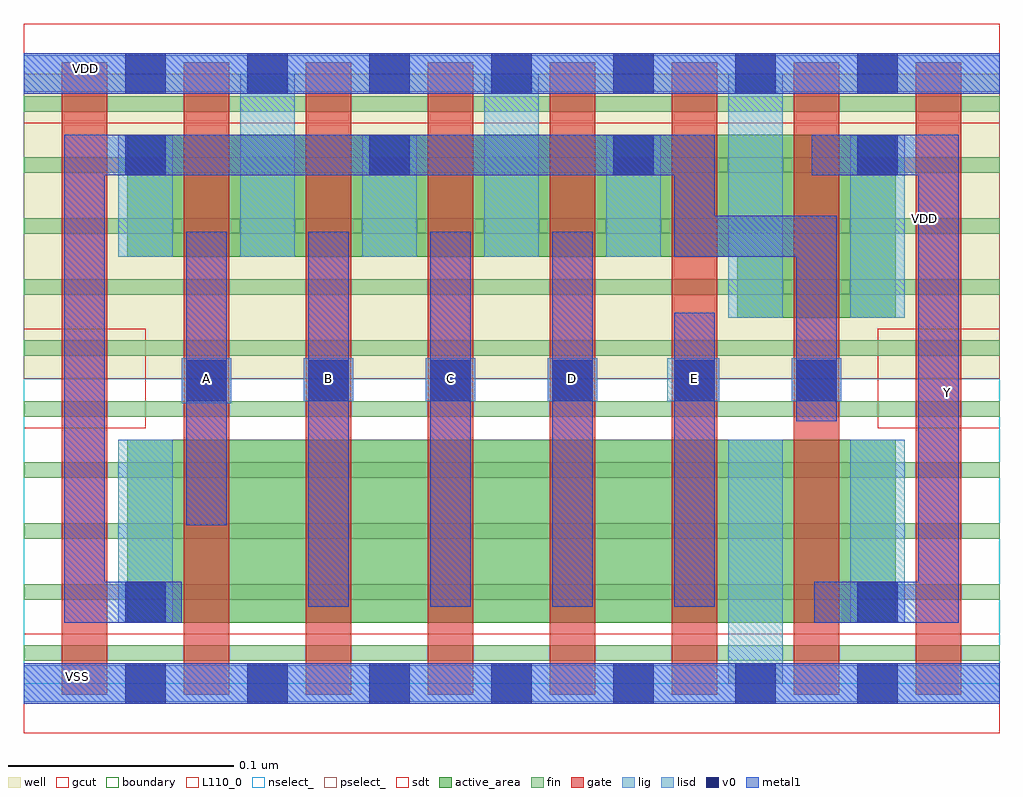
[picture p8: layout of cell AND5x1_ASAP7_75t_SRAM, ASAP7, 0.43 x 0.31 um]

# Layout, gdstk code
import gdstk
lib = gdstk.Library(unit=1e-6, precision=2.5e-10)
def R(c, l, rs):  # rectangles x0, y0, x1, y1
    for r in rs: c.add(gdstk.rectangle(r[:2], r[2:], *l))
def A(c, l, x, y, w, h, nx, ny, dx, dy):  # array of equal rectangles
    R(c, l, [(x+i*dx, y+j*dy, x+i*dx+w, y+j*dy+h) for i in range(nx) for j in range(ny)])
def P(c, l, *ps):  # polygons
    for p in ps: c.add(gdstk.Polygon(p, *l))
well = (1, 0)
fin = (2, 0)
gate = (7, 0)
gcut = (10, 0)
active_area = (11, 0)
nselect_ = (12, 0)
pselect_ = (13, 0)
lig = (16, 0)
lisd = (17, 0)
v0 = (18, 0)
metal1 = (19, 0)
sdt = (88, 0)
boundary = (100, 0)
L110_0 = (110, 0)

and5x1_asap7_75t_sram = lib.new_cell('AND5x1_ASAP7_75t_SRAM')
R(and5x1_asap7_75t_sram, well, [(0,0.135,0.432,0.27)])
A(and5x1_asap7_75t_sram, fin, 0, 0.01, 0.432, 0.007, 1, 10, 0, 0.027)
A(and5x1_asap7_75t_sram, gate, 0.017, -0.005, 0.02, 0.28, 8, 1, 0.054, 0)
R(and5x1_asap7_75t_sram, gcut, [(0,-0.022,0.432,0.022), (0,0.113,0.054,0.157), (0.378,0.113,0.432,0.157), (0,0.248,0.432,0.292)])
R(and5x1_asap7_75t_sram, active_area, [(0.046,0.027,0.386,0.108)])
P(and5x1_asap7_75t_sram, active_area, [(0.386,0.243),(0.046,0.243),(0.046,0.189),(0.316,0.189),(0.316,0.162),(0.386,0.162)])
R(and5x1_asap7_75t_sram, nselect_, [(0,0,0.432,0.135)])
R(and5x1_asap7_75t_sram, pselect_, [(0,0.135,0.432,0.27)])
A(and5x1_asap7_75t_sram, lig, 0.124, 0.125, 0.022, 0.019, 3, 1, 0.054, 0)
R(and5x1_asap7_75t_sram, lig, [(0,-0.008,0.432,0.008), (0.07,0.124,0.092,0.144), (0.285,0.125,0.308,0.144), (0.34,0.125,0.362,0.144), (0,0.262,0.432,0.278)])
A(and5x1_asap7_75t_sram, lisd, 0.042, 0.189, 0.024, 0.054, 3, 1, 0.108, 0)
R(and5x1_asap7_75t_sram, lisd, [(0.312,0,0.336,0.108), (0.042,0.027,0.066,0.108), (0.366,0.027,0.39,0.108), (0.312,0.162,0.336,0.27), (0.366,0.162,0.39,0.243), (0.096,0.189,0.12,0.27), (0.204,0.189,0.228,0.27)])
A(and5x1_asap7_75t_sram, v0, 0.045, -0.009, 0.018, 0.018, 7, 2, 0.054, 0.27)
A(and5x1_asap7_75t_sram, v0, 0.072, 0.125, 0.018, 0.018, 6, 1, 0.054, 0)
A(and5x1_asap7_75t_sram, v0, 0.045, 0.225, 0.018, 0.018, 4, 1, 0.108, 0)
R(and5x1_asap7_75t_sram, v0, [(0.045,0.027,0.063,0.045), (0.369,0.027,0.387,0.045)])
A(and5x1_asap7_75t_sram, metal1, 0.126, 0.034, 0.018, 0.166, 3, 1, 0.054, 0)
R(and5x1_asap7_75t_sram, metal1, [(0,-0.009,0.432,0.009), (0.288,0.034,0.306,0.164), (0.072,0.07,0.09,0.2), (0,0.261,0.432,0.279)])
P(and5x1_asap7_75t_sram, metal1, [(0.414,0.243),(0.349,0.243),(0.349,0.225),(0.396,0.225),(0.396,0.045),(0.35,0.045),(0.35,0.027),(0.414,0.027)],
  [(0.36,0.207),(0.306,0.207),(0.306,0.243),(0.018,0.243),(0.018,0.027),(0.07,0.027),(0.07,0.045),(0.036,0.045),(0.036,0.225),(0.288,0.225),(0.288,0.189),(0.342,0.189),(0.342,0.116),(0.36,0.116)])
A(and5x1_asap7_75t_sram, sdt, 0.042, 0.189, 0.024, 0.054, 5, 1, 0.054, 0)
R(and5x1_asap7_75t_sram, sdt, [(0.042,0.027,0.066,0.108), (0.312,0.027,0.336,0.108), (0.366,0.027,0.39,0.108), (0.312,0.162,0.336,0.243), (0.366,0.162,0.39,0.243)])
R(and5x1_asap7_75t_sram, boundary, [(0,0,0.432,0.27)])
R(and5x1_asap7_75t_sram, L110_0, [(0,0,0.432,0.27)])
and5x1_asap7_75t_sram.add(gdstk.Label('B', (0.135,0.135), layer=19, texttype=251))
and5x1_asap7_75t_sram.add(gdstk.Label('A', (0.081,0.135), layer=19, texttype=251))
and5x1_asap7_75t_sram.add(gdstk.Label('C', (0.189,0.135), layer=19, texttype=251))
and5x1_asap7_75t_sram.add(gdstk.Label('VDD', (0.0275,0.272), layer=19, texttype=251))
and5x1_asap7_75t_sram.add(gdstk.Label('VSS', (0.024,0.003), layer=19, texttype=251))
and5x1_asap7_75t_sram.add(gdstk.Label('D', (0.243,0.135), layer=19, texttype=251))
and5x1_asap7_75t_sram.add(gdstk.Label('E', (0.297,0.135), layer=19, texttype=251))
and5x1_asap7_75t_sram.add(gdstk.Label('Y', (0.409,0.129), layer=19, texttype=251))
and5x1_asap7_75t_sram.add(gdstk.Label('VDD', (0.399,0.206), layer=1, texttype=251))
and5x1_asap7_75t_sram.add(gdstk.Label('VSS', (0.186,-0.052), layer=3, texttype=251))

lib.write_gds('AND5x1_ASAP7_75t_SRAM.gds')
